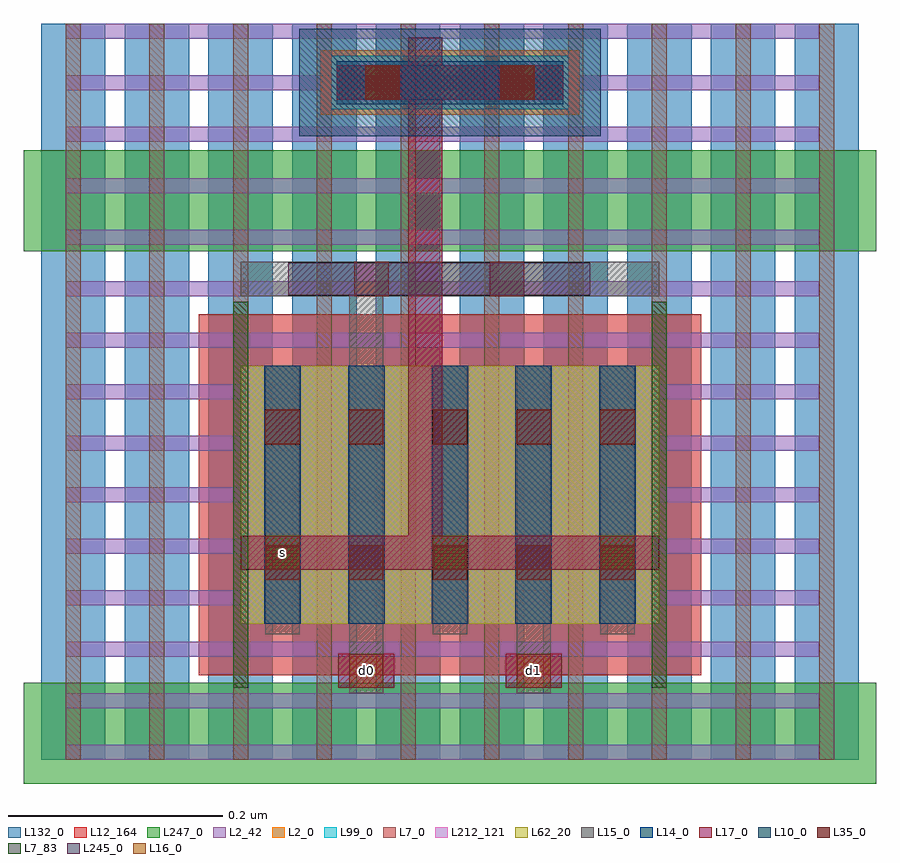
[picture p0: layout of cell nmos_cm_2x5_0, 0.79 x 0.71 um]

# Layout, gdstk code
import gdstk
lib = gdstk.Library(unit=1e-6, precision=1e-12)
def R(c, l, rs):  # rectangles x0, y0, x1, y1
    for r in rs: c.add(gdstk.rectangle(r[:2], r[2:], *l))
def A(c, l, x, y, w, h, nx, ny, dx, dy):  # array of equal rectangles
    R(c, l, [(x+i*dx, y+j*dy, x+i*dx+w, y+j*dy+h) for i in range(nx) for j in range(ny)])
L2_0 = (2, 0)
L2_42 = (2, 42)
L7_0 = (7, 0)
L7_83 = (7, 83)
L10_0 = (10, 0)
L12_164 = (12, 164)
L14_0 = (14, 0)
L15_0 = (15, 0)
L16_0 = (16, 0)
L17_0 = (17, 0)
L35_0 = (35, 0)
L62_20 = (62, 20)
L99_0 = (99, 0)
L132_0 = (132, 0)
L212_121 = (212, 121)
L245_0 = (245, 0)
L247_0 = (247, 0)

nmos_cm_2x5_0 = lib.new_cell('nmos_cm_2x5_0')
R(nmos_cm_2x5_0, L2_0, [(0.186,0.127,0.576,0.367), (0.2606,0.601,0.5014,0.661)])
A(nmos_cm_2x5_0, L2_42, 0.023, 0, 0.702, 0.014, 1, 15, 0, 0.048)
A(nmos_cm_2x5_0, L7_0, 0.023, 0, 0.014, 0.686, 10, 1, 0.078, 0)
R(nmos_cm_2x5_0, L7_83, [(0.179,0.067,0.193,0.427), (0.569,0.067,0.583,0.427)])
R(nmos_cm_2x5_0, L10_0, [(0.2406,0.581,0.5214,0.681)])
R(nmos_cm_2x5_0, L12_164, [(0.147,0.079,0.615,0.415)])
A(nmos_cm_2x5_0, L14_0, 0.208, 0.127, 0.034, 0.24, 5, 1, 0.078, 0)
R(nmos_cm_2x5_0, L14_0, [(0.2756,0.611,0.4864,0.651)])
A(nmos_cm_2x5_0, L15_0, 0.209, 0.117, 0.032, 0.25, 5, 1, 0.078, 0)
R(nmos_cm_2x5_0, L15_0, [(0.287,0.062,0.319,0.122), (0.443,0.062,0.475,0.122), (0.287,0.367,0.319,0.432), (0.186,0.432,0.576,0.464), (0.2756,0.615,0.4864,0.647)])
A(nmos_cm_2x5_0, L16_0, 0.209, 0.177, 0.032, 0.032, 3, 1, 0.156, 0)
R(nmos_cm_2x5_0, L16_0, [(0.287,0.067,0.319,0.099), (0.443,0.067,0.475,0.099), (0.302,0.615,0.334,0.647), (0.428,0.615,0.46,0.647)])
R(nmos_cm_2x5_0, L17_0, [(0.277,0.067,0.329,0.099), (0.433,0.067,0.485,0.099), (0.186,0.177,0.576,0.209), (0.342,0.177,0.374,0.673), (0.2756,0.615,0.4864,0.647)])
A(nmos_cm_2x5_0, L35_0, 0.209, 0.168, 0.032, 0.032, 5, 2, 0.078, 0.126)
R(nmos_cm_2x5_0, L35_0, [(0.292,0.432,0.324,0.464), (0.418,0.432,0.45,0.464), (0.302,0.615,0.334,0.647), (0.428,0.615,0.46,0.647)])
R(nmos_cm_2x5_0, L62_20, [(0.186,0.127,0.576,0.367)])
R(nmos_cm_2x5_0, L99_0, [(0.186,0.127,0.576,0.367), (0.2706,0.606,0.4914,0.656)])
A(nmos_cm_2x5_0, L132_0, 0, 0, 0.06, 0.686, 10, 1, 0.078, 0)
R(nmos_cm_2x5_0, L212_121, [(0.186,0.127,0.576,0.367)])
R(nmos_cm_2x5_0, L245_0, [(0.2305,0.433,0.5115,0.463)])
R(nmos_cm_2x5_0, L247_0, [(-0.016,-0.022,0.778,0.072), (-0.016,0.474,0.778,0.568)])
nmos_cm_2x5_0.add(gdstk.Label('d0', (0.303,0.083), layer=15, texttype=20))
nmos_cm_2x5_0.add(gdstk.Label('d1', (0.459,0.083), layer=15, texttype=20))
nmos_cm_2x5_0.add(gdstk.Label('s', (0.225,0.193), layer=15, texttype=20))

lib.write_gds('nmos_cm_2x5_0.gds')
